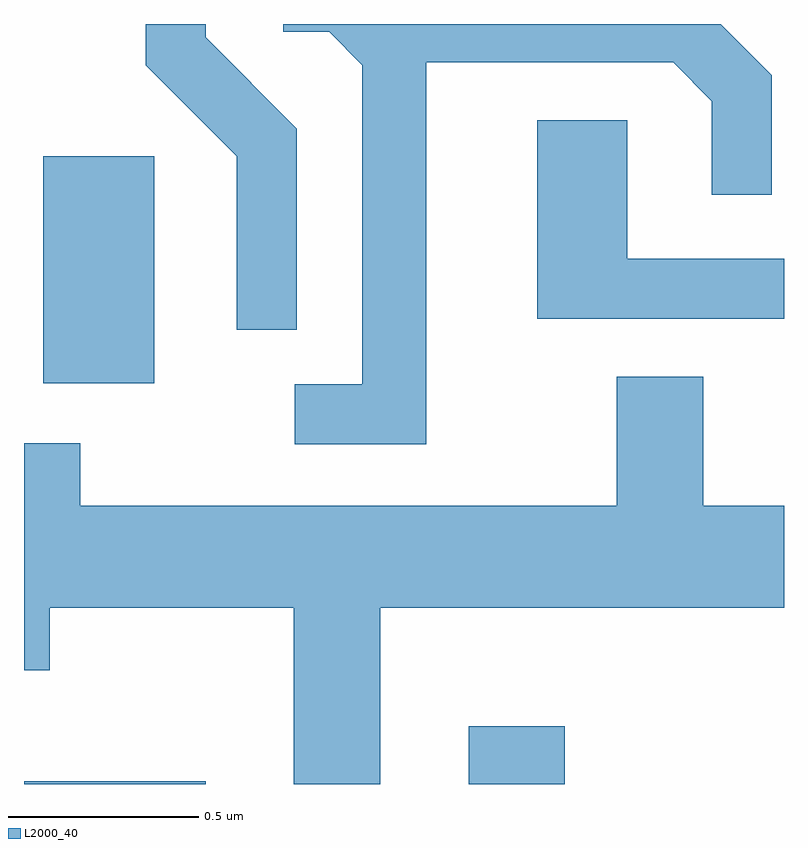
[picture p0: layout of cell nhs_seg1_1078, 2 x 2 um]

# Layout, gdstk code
import gdstk
lib = gdstk.Library(unit=1e-6, precision=1e-09)
def R(c, l, rs):  # rectangles x0, y0, x1, y1
    for r in rs: c.add(gdstk.rectangle(r[:2], r[2:], *l))
def P(c, l, *ps):  # polygons
    for p in ps: c.add(gdstk.Polygon(p, *l))
L2000_40 = (2000, 40)

nhs_seg1_1078 = lib.new_cell('nhs_seg1_1078')
R(nhs_seg1_1078, L2000_40, [(192.611,965.712,193.089,965.719), (193.781,965.712,194.034,965.864), (192.661,966.766,192.954,967.364)])
P(nhs_seg1_1078, L2000_40, [(193.329,967.437),(193.089,967.677),(193.089,967.712),(192.931,967.712),(192.931,967.604),(193.171,967.364),(193.171,966.908),(193.329,966.908)],
  [(193.669,967.611),(194.319,967.611),(194.421,967.509),(194.421,967.263),(194.579,967.263),(194.579,967.577),(194.444,967.712),(193.293,967.712),(193.293,967.691),(193.414,967.691),(193.501,967.604),(193.501,966.764),(193.323,966.764),(193.323,966.606),(193.669,966.606)],
  [(194.611,967.094),(194.199,967.094),(194.199,967.459),(193.961,967.459),(193.961,966.936),(194.611,966.936)],
  [(193.549,966.176),(194.611,966.176),(194.611,966.444),(194.399,966.444),(194.399,966.784),(194.171,966.784),(194.171,966.444),(192.759,966.444),(192.759,966.609),(192.611,966.609),(192.611,966.011),(192.679,966.011),(192.679,966.176),(193.321,966.176),(193.321,965.712),(193.549,965.712)])

lib.write_gds('nhs_seg1_1078.gds')
